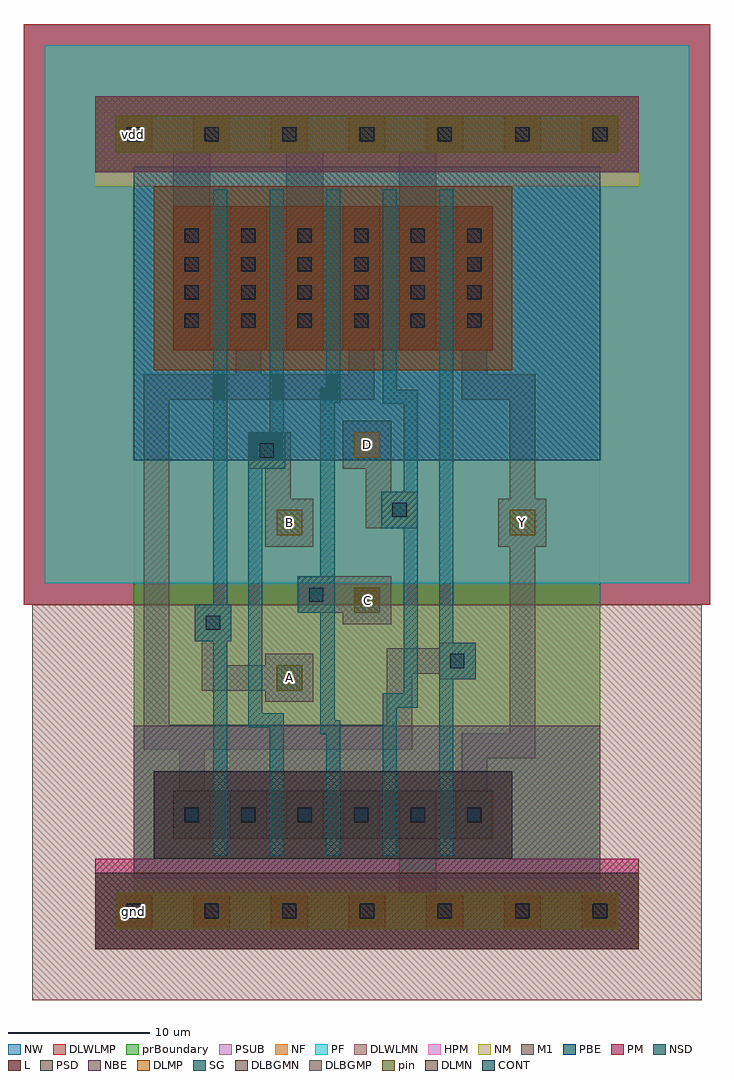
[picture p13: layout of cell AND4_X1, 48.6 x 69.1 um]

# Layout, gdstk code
import gdstk
lib = gdstk.Library(unit=1e-6, precision=1e-09)
def R(c, l, rs):  # rectangles x0, y0, x1, y1
    for r in rs: c.add(gdstk.rectangle(r[:2], r[2:], *l))
def A(c, l, x, y, w, h, nx, ny, dx, dy):  # array of equal rectangles
    R(c, l, [(x+i*dx, y+j*dy, x+i*dx+w, y+j*dy+h) for i in range(nx) for j in range(ny)])
def P(c, l, *ps):  # polygons
    for p in ps: c.add(gdstk.Polygon(p, *l))
L = (3, 0)
NM = (7, 0)
SG = (8, 0)
PSD = (9, 0)
CONT = (11, 0)
M1 = (13, 0)
NF = (25, 0)
PF = (26, 0)
NSD = (28, 0)
HPM = (33, 0)
PM = (35, 0)
NW = (36, 0)
pin = (48, 1)
PSUB = (140, 0)
PBE = (146, 0)
NBE = (147, 0)
DLWLMP = (150, 0)
DLWLMN = (151, 0)
DLMP = (157, 0)
DLMN = (158, 0)
DLBGMP = (177, 0)
DLBGMN = (178, 0)
prBoundary = (235, 0)

and4_x1 = lib.new_cell('AND4_X1')
A(and4_x1, L, -1.3, -1.3, 2.6, 2.6, 7, 2, 5.5, 55)
R(and4_x1, L, [(2.8,5.1,25.4,8.5), (2.8,39.7,25.4,49.9)])
R(and4_x1, NM, [(-2.75,-2.7,35.75,2.7)])
P(and4_x1, NM, [(1.4,38.3),(1.4,51.3),(-2.75,51.3),(-2.75,57.7),(35.75,57.7),(35.75,51.3),(26.8,51.3),(26.8,38.3)])
P(and4_x1, SG, [(5.6,3.9),(5.6,19.1),(4.3,19.1),(4.3,21.7),(5.6,21.7),(5.6,51.1),(6.6,51.1),(6.6,21.7),(6.9,21.7),(6.9,19.1),(6.6,19.1),(6.6,3.9)],
  [(9.6,3.9),(9.6,13),(8.1,13),(8.1,33.9),(9.6,33.9),(9.6,51.1),(10.6,51.1),(10.6,33.9),(10.7,33.9),(10.7,31.3),(9.1,31.3),(9.1,14),(10.6,14),(10.6,3.9)],
  [(13.6,3.9),(13.6,12.5),(13.2,12.5),(13.2,21.1),(11.6,21.1),(11.6,23.7),(13.2,23.7),(13.2,37),(13.6,37),(13.6,51.1),(14.6,51.1),(14.6,36),(14.2,36),(14.2,13.5),(14.6,13.5),(14.6,3.9)],
  [(17.6,3.9),(17.6,15.4),(19.1,15.4),(19.1,27.1),(17.5,27.1),(17.5,29.7),(19.1,29.7),(19.1,35.9),(17.6,35.9),(17.6,51.1),(18.6,51.1),(18.6,36.9),(20.1,36.9),(20.1,14.4),(18.6,14.4),(18.6,3.9)],
  [(21.6,3.9),(21.6,51.1),(22.6,51.1),(22.6,19),(24.2,19),(24.2,16.4),(22.6,16.4),(22.6,3.9)])
R(and4_x1, PSD, [(1.4,3.7,26.8,9.9), (-2.75,52.3,35.75,57.7)])
A(and4_x1, CONT, -0.5, -0.5, 1, 1, 7, 2, 5.5, 55)
A(and4_x1, CONT, 3.6, 41.3, 1, 1, 1, 4, 0, 2)
A(and4_x1, CONT, 23.6, 41.3, 1, 1, 1, 4, 0, 2)
R(and4_x1, CONT, [(3.6,6.3,4.6,7.3), (7.6,6.3,8.6,7.3), (7.6,6.3,8.6,7.3), (11.6,6.3,12.6,7.3), (11.6,6.3,12.6,7.3), (15.6,6.3,16.6,7.3), (15.6,6.3,16.6,7.3), (19.6,6.3,20.6,7.3), (19.6,6.3,20.6,7.3), (23.6,6.3,24.6,7.3), (22.4,17.2,23.4,18.2), (5.1,19.9,6.1,20.9), (12.4,21.9,13.4,22.9), (18.3,27.9,19.3,28.9), (8.9,32.1,9.9,33.1), (7.6,41.3,8.6,42.3), (7.6,41.3,8.6,42.3), (11.6,41.3,12.6,42.3), (11.6,41.3,12.6,42.3), (15.6,41.3,16.6,42.3), (15.6,41.3,16.6,42.3), (19.6,41.3,20.6,42.3), (19.6,41.3,20.6,42.3), (7.6,43.3,8.6,44.3), (7.6,43.3,8.6,44.3), (11.6,43.3,12.6,44.3), (11.6,43.3,12.6,44.3), (15.6,43.3,16.6,44.3), (15.6,43.3,16.6,44.3), (19.6,43.3,20.6,44.3), (19.6,43.3,20.6,44.3), (7.6,45.3,8.6,46.3), (7.6,45.3,8.6,46.3), (11.6,45.3,12.6,46.3), (11.6,45.3,12.6,46.3), (15.6,45.3,16.6,46.3), (15.6,45.3,16.6,46.3), (19.6,45.3,20.6,46.3), (19.6,45.3,20.6,46.3), (7.6,47.3,8.6,48.3), (7.6,47.3,8.6,48.3), (11.6,47.3,12.6,48.3), (11.6,47.3,12.6,48.3), (15.6,47.3,16.6,48.3), (15.6,47.3,16.6,48.3), (19.6,47.3,20.6,48.3), (19.6,47.3,20.6,48.3)])
A(and4_x1, M1, 6.8, 5.1, 2.6, 3.4, 3, 1, 4, 0)
P(and4_x1, M1, [(-1.3,-1.3),(-1.3,1.3),(18.8,1.3),(18.8,8.5),(21.4,8.5),(21.4,1.3),(34.3,1.3),(34.3,-1.3)],
  [(9.3,14.8),(9.3,15.6),(4.8,15.6),(4.8,19.1),(4.3,19.1),(4.3,21.7),(6.9,21.7),(6.9,19.1),(6.6,19.1),(6.6,17.4),(9.3,17.4),(9.3,18.2),(12.7,18.2),(12.7,14.8)],
  [(14.8,20.3),(14.8,21.1),(11.6,21.1),(11.6,23.7),(18.2,23.7),(18.2,20.3)],
  [(9.3,25.8),(9.3,31.3),(8.1,31.3),(8.1,33.9),(11.1,33.9),(11.1,29.2),(12.7,29.2),(12.7,25.8)],
  [(16.4,27.1),(16.4,31.3),(14.8,31.3),(14.8,34.7),(18.2,34.7),(18.2,29.7),(20.1,29.7),(20.1,27.1)],
  [(2.8,5.1),(2.8,8.5),(3.2,8.5),(3.2,11.4),(0.7,11.4),(0.7,38),(7.2,38),(7.2,39.7),(6.8,39.7),(6.8,49.9),(9.4,49.9),(9.4,39.7),(9,39.7),(9,38),(15.2,38),(15.2,39.7),(14.8,39.7),(14.8,49.9),(17.4,49.9),(17.4,39.7),(17,39.7),(17,36.2),(2.5,36.2),(2.5,13.2),(17.9,13.2),(17.9,18.6),(21.6,18.6),(21.6,19),(24.2,19),(24.2,16.4),(21.6,16.4),(21.6,16.8),(19.7,16.8),(19.7,11.4),(5,11.4),(5,8.5),(5.4,8.5),(5.4,5.1)],
  [(22.8,5.1),(22.8,8.5),(23.2,8.5),(23.2,12.6),(26.6,12.6),(26.6,25.8),(25.8,25.8),(25.8,29.2),(26.6,29.2),(26.6,36.2),(23.2,36.2),(23.2,39.7),(22.8,39.7),(22.8,49.9),(25.4,49.9),(25.4,39.7),(25,39.7),(25,38),(28.4,38),(28.4,29.2),(29.2,29.2),(29.2,25.8),(28.4,25.8),(28.4,10.8),(25,10.8),(25,8.5),(25.4,8.5),(25.4,5.1)],
  [(2.8,39.7),(2.8,53.7),(-1.3,53.7),(-1.3,56.3),(34.3,56.3),(34.3,53.7),(21.4,53.7),(21.4,39.7),(18.8,39.7),(18.8,53.7),(13.4,53.7),(13.4,39.7),(10.8,39.7),(10.8,53.7),(5.4,53.7),(5.4,39.7)])
R(and4_x1, NF, [(-6.3,23.2,39.3,61.3)])
R(and4_x1, PF, [(-6.3,23.2,39.3,61.3)])
R(and4_x1, NSD, [(-2.75,-2.7,35.75,2.7), (1.4,38.3,26.8,51.3)])
P(and4_x1, HPM, [(-2.75,-2.7),(-2.75,3.7),(1.4,3.7),(1.4,9.9),(26.8,9.9),(26.8,3.7),(35.75,3.7),(35.75,-2.7)],
  [(1.4,38.3),(1.4,51.3),(-2.75,51.3),(-2.75,57.7),(35.75,57.7),(35.75,51.3),(26.8,51.3),(26.8,38.3)])
R(and4_x1, PM, [(-2.75,52.3,35.75,57.7)])
P(and4_x1, PM, [(-2.75,-2.7),(-2.75,3.7),(1.4,3.7),(1.4,9.9),(26.8,9.9),(26.8,3.7),(35.75,3.7),(35.75,-2.7)])
R(and4_x1, NW, [(-7.8,21.7,40.8,62.8)])
R(and4_x1, pin, [(-1.3,-1.3,34.3,1.3), (10.1,15.6,11.9,17.4), (15.6,21.1,17.4,22.9), (10.1,26.6,11.9,28.4), (26.6,26.6,28.4,28.4), (15.6,32.1,17.4,33.9), (-1.3,53.7,34.3,56.3)])
R(and4_x1, PSUB, [(-6.3,23.2,39.3,61.3)])
R(and4_x1, PBE, [(0,31.9,33,52.7)])
R(and4_x1, NBE, [(0,2.3,33,13.1)])
R(and4_x1, DLWLMP, [(-7.8,21.7,40.8,62.8)])
R(and4_x1, DLWLMN, [(-7.2,-6.3,40.2,21.7)])
R(and4_x1, DLMP, [(1.4,38.3,26.8,51.3)])
R(and4_x1, DLMN, [(1.4,3.7,26.8,9.9)])
R(and4_x1, DLBGMP, [(-2.75,52.3,35.75,57.7)])
R(and4_x1, DLBGMN, [(-2.75,-2.7,35.75,2.7)])
R(and4_x1, prBoundary, [(0,0,33,55)])
and4_x1.add(gdstk.Label('vdd', (0,55), layer=48, texttype=0))
and4_x1.add(gdstk.Label('gnd', (0,0), layer=48, texttype=0))
and4_x1.add(gdstk.Label('Y', (27.5,27.5), layer=48, texttype=0))
and4_x1.add(gdstk.Label('A', (11,16.5), layer=48, texttype=0))
and4_x1.add(gdstk.Label('B', (11,27.5), layer=48, texttype=0))
and4_x1.add(gdstk.Label('C', (16.5,22), layer=48, texttype=0))
and4_x1.add(gdstk.Label('D', (16.5,33), layer=48, texttype=0))

lib.write_gds('AND4_X1.gds')
